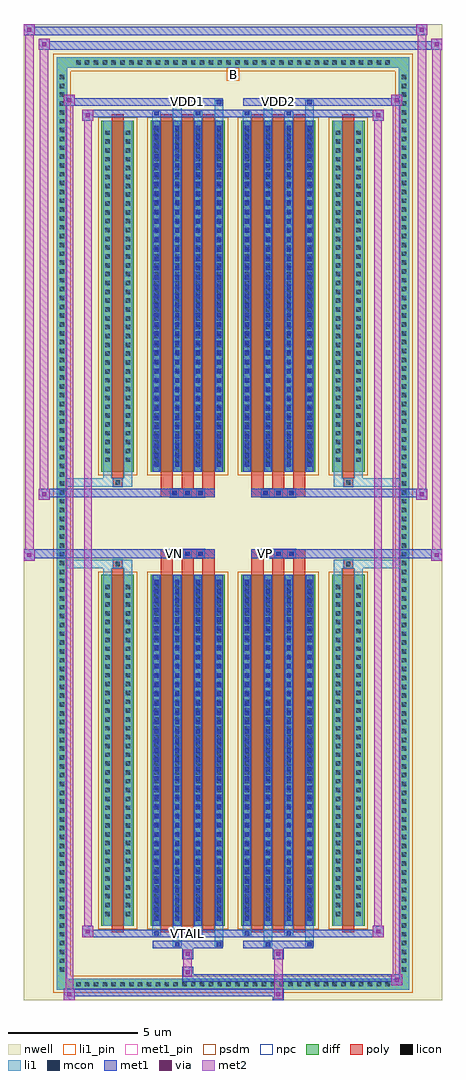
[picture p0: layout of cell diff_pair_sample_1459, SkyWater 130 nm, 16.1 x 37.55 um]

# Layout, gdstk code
import gdstk
lib = gdstk.Library(unit=1e-6, precision=5e-09)
def R(c, l, rs):  # rectangles x0, y0, x1, y1
    for r in rs: c.add(gdstk.rectangle(r[:2], r[2:], *l))
def A(c, l, x, y, w, h, nx, ny, dx, dy):  # array of equal rectangles
    R(c, l, [(x+i*dx, y+j*dy, x+i*dx+w, y+j*dy+h) for i in range(nx) for j in range(ny)])
def P(c, l, *ps):  # polygons
    for p in ps: c.add(gdstk.Polygon(p, *l))
nwell = (64, 20)
diff = (65, 20)
poly = (66, 20)
licon = (66, 44)
li1_pin = (67, 16)
li1 = (67, 20)
mcon = (67, 44)
met1_pin = (68, 16)
met1 = (68, 20)
via = (68, 44)
met2 = (69, 20)
psdm = (94, 20)
npc = (95, 20)

diff_pair_sample_1459 = lib.new_cell('diff_pair_sample_1459')
R(diff_pair_sample_1459, nwell, [(-8.05,-18.34,8.05,19.21), (-5.37,-16.53,-0.01,-0.805), (0.01,-16.53,5.37,-0.805), (-5.37,0.805,-0.01,16.53), (0.01,0.805,5.37,16.53)])
A(diff_pair_sample_1459, diff, -6.155, -17.94, 0.41, 0.41, 36, 2, 0.34, 35.47)
A(diff_pair_sample_1459, diff, -6.78, -17.375, 0.41, 0.41, 1, 102, 0, 0.34)
A(diff_pair_sample_1459, diff, 6.37, -17.375, 0.41, 0.41, 1, 102, 0, 0.34)
R(diff_pair_sample_1459, diff, [(-6.155,-17.94,6.155,-17.53), (-6.78,-17.375,-6.37,17.375), (6.37,-17.375,6.78,17.375), (-5.06,-15.485,-3.81,-1.985), (-3.17,-15.485,-0.32,-1.985), (0.32,-15.485,3.17,-1.985), (3.81,-15.485,5.06,-1.985), (-5.06,1.985,-3.81,15.485), (-3.17,1.985,-0.32,15.485), (0.32,1.985,3.17,15.485), (3.81,1.985,5.06,15.485), (-6.155,17.53,6.155,17.94)])
P(diff_pair_sample_1459, diff, [(6.78,17.94),(-6.78,17.94),(-6.78,-17.53),(-6.37,-17.53),(-6.37,17.53),(6.37,17.53),(6.37,-17.53),(-6.37,-17.53),(-6.78,-17.53),(-6.78,-17.94),(6.78,-17.94)])
A(diff_pair_sample_1459, poly, -2.78, -15.735, 0.47, 14, 3, 2, 0.8, 17.47)
A(diff_pair_sample_1459, poly, 0.71, -15.735, 0.47, 14, 3, 2, 0.8, 17.47)
A(diff_pair_sample_1459, poly, -2.78, -1.735, 0.47, 0.4, 3, 2, 0.8, 3.07)
A(diff_pair_sample_1459, poly, 0.71, -1.735, 0.47, 0.4, 3, 2, 0.8, 3.07)
A(diff_pair_sample_1459, poly, -2.41, -1.335, 0.33, 0.33, 3, 2, 0.5, 2.34)
A(diff_pair_sample_1459, poly, 1.08, -1.335, 0.33, 0.33, 3, 2, 0.5, 2.34)
R(diff_pair_sample_1459, poly, [(-4.67,-15.735,-4.2,-1.735), (4.2,-15.735,4.67,-1.735), (-4.6,-1.735,-4.27,-1.405), (-4.6,-1.735,-4.27,-1.405), (4.27,-1.735,4.6,-1.405), (4.27,-1.735,4.6,-1.405), (-2.78,-1.335,-0.71,-1.005), (0.71,-1.335,2.78,-1.005), (-2.78,1.005,-0.71,1.335), (0.71,1.005,2.78,1.335), (-4.6,1.405,-4.27,1.735), (-4.6,1.405,-4.27,1.735), (4.27,1.405,4.6,1.735), (4.27,1.405,4.6,1.735), (-4.67,1.735,-4.2,15.735), (4.2,1.735,4.67,15.735)])
A(diff_pair_sample_1459, licon, -6.035, -17.82, 0.17, 0.17, 36, 2, 0.34, 35.47)
A(diff_pair_sample_1459, licon, -6.66, -17.255, 0.17, 0.17, 1, 102, 0, 0.34)
A(diff_pair_sample_1459, licon, 6.49, -17.255, 0.17, 0.17, 1, 102, 0, 0.34)
A(diff_pair_sample_1459, licon, -4.92, -15.11, 0.17, 0.17, 1, 38, 0, 0.34)
A(diff_pair_sample_1459, licon, -4.12, -15.11, 0.17, 0.17, 1, 38, 0, 0.34)
A(diff_pair_sample_1459, licon, -3.03, -15.11, 0.17, 0.17, 4, 38, 0.8, 0.34)
A(diff_pair_sample_1459, licon, 0.46, -15.11, 0.17, 0.17, 4, 38, 0.8, 0.34)
A(diff_pair_sample_1459, licon, 3.95, -15.11, 0.17, 0.17, 1, 38, 0, 0.34)
A(diff_pair_sample_1459, licon, 4.75, -15.11, 0.17, 0.17, 1, 38, 0, 0.34)
A(diff_pair_sample_1459, licon, -2.33, -1.255, 0.17, 0.17, 3, 2, 0.5, 2.34)
A(diff_pair_sample_1459, licon, 1.16, -1.255, 0.17, 0.17, 3, 2, 0.5, 2.34)
A(diff_pair_sample_1459, licon, -4.92, 2.36, 0.17, 0.17, 1, 38, 0, 0.34)
A(diff_pair_sample_1459, licon, -4.12, 2.36, 0.17, 0.17, 1, 38, 0, 0.34)
A(diff_pair_sample_1459, licon, -3.03, 2.36, 0.17, 0.17, 4, 38, 0.8, 0.34)
A(diff_pair_sample_1459, licon, 0.46, 2.36, 0.17, 0.17, 4, 38, 0.8, 0.34)
A(diff_pair_sample_1459, licon, 3.95, 2.36, 0.17, 0.17, 1, 38, 0, 0.34)
A(diff_pair_sample_1459, licon, 4.75, 2.36, 0.17, 0.17, 1, 38, 0, 0.34)
R(diff_pair_sample_1459, licon, [(-4.52,-1.655,-4.35,-1.485), (4.35,-1.655,4.52,-1.485), (-4.52,1.485,-4.35,1.655), (4.35,1.485,4.52,1.655)])
R(diff_pair_sample_1459, li1_pin, [(-0.25,17.03,0.25,17.53)])
A(diff_pair_sample_1459, li1, -6.115, -17.9, 0.33, 0.33, 36, 2, 0.34, 35.47)
A(diff_pair_sample_1459, li1, -6.74, -17.335, 0.33, 0.33, 1, 102, 0, 0.34)
A(diff_pair_sample_1459, li1, 6.41, -17.335, 0.33, 0.33, 1, 102, 0, 0.34)
A(diff_pair_sample_1459, li1, -3.11, -15.485, 0.33, 13.5, 4, 2, 0.8, 17.47)
A(diff_pair_sample_1459, li1, 0.38, -15.485, 0.33, 13.5, 4, 2, 0.8, 17.47)
A(diff_pair_sample_1459, li1, -3.03, -15.3, 0.17, 0.17, 4, 37, 0.8, 0.36)
A(diff_pair_sample_1459, li1, -3.03, -15.3, 0.17, 13.13, 4, 2, 0.8, 17.47)
A(diff_pair_sample_1459, li1, 0.46, -15.3, 0.17, 0.17, 4, 37, 0.8, 0.36)
A(diff_pair_sample_1459, li1, 0.46, -15.3, 0.17, 13.13, 4, 2, 0.8, 17.47)
A(diff_pair_sample_1459, li1, -5, -15.19, 0.33, 0.33, 1, 38, 0, 0.34)
A(diff_pair_sample_1459, li1, -4.2, -15.19, 0.33, 0.33, 1, 38, 0, 0.34)
A(diff_pair_sample_1459, li1, -3.11, -15.19, 0.33, 0.33, 4, 38, 0.8, 0.34)
A(diff_pair_sample_1459, li1, 0.38, -15.19, 0.33, 0.33, 4, 38, 0.8, 0.34)
A(diff_pair_sample_1459, li1, 3.87, -15.19, 0.33, 0.33, 1, 38, 0, 0.34)
A(diff_pair_sample_1459, li1, 4.67, -15.19, 0.33, 0.33, 1, 38, 0, 0.34)
A(diff_pair_sample_1459, li1, -2.41, -1.335, 0.33, 0.33, 3, 2, 0.5, 2.34)
A(diff_pair_sample_1459, li1, 1.08, -1.335, 0.33, 0.33, 3, 2, 0.5, 2.34)
A(diff_pair_sample_1459, li1, -3.03, 2.17, 0.17, 0.17, 4, 37, 0.8, 0.36)
A(diff_pair_sample_1459, li1, 0.46, 2.17, 0.17, 0.17, 4, 37, 0.8, 0.36)
A(diff_pair_sample_1459, li1, -5, 2.28, 0.33, 0.33, 1, 38, 0, 0.34)
A(diff_pair_sample_1459, li1, -4.2, 2.28, 0.33, 0.33, 1, 38, 0, 0.34)
A(diff_pair_sample_1459, li1, -3.11, 2.28, 0.33, 0.33, 4, 38, 0.8, 0.34)
A(diff_pair_sample_1459, li1, 0.38, 2.28, 0.33, 0.33, 4, 38, 0.8, 0.34)
A(diff_pair_sample_1459, li1, 3.87, 2.28, 0.33, 0.33, 1, 38, 0, 0.34)
A(diff_pair_sample_1459, li1, 4.67, 2.28, 0.33, 0.33, 1, 38, 0, 0.34)
R(diff_pair_sample_1459, li1, [(-6.78,-17.94,-6.37,-17.53), (-6.78,-17.94,-6.37,-17.53), (-6.37,-17.94,6.37,-17.53), (6.37,-17.94,6.78,-17.53), (6.37,-17.94,6.78,-17.53), (-6.78,-17.53,-6.37,17.53), (6.37,-17.53,6.78,17.53), (-2.31,-16.29,-1.98,-15.485), (-2.23,-16.29,-2.06,-16.12), (-0.71,-16.29,-0.38,-15.485), (-0.63,-16.29,-0.46,-16.12), (1.18,-16.29,1.51,-15.485), (1.26,-16.29,1.43,-16.12), (2.78,-16.29,3.11,-15.485), (2.86,-16.29,3.03,-16.12), (-3.11,-15.86,-2.78,-15.485), (-3.03,-15.86,-2.86,-15.69), (-1.51,-15.86,-1.18,-15.485), (-1.43,-15.86,-1.26,-15.69), (0.38,-15.86,0.71,-15.485), (0.46,-15.86,0.63,-15.69), (1.98,-15.86,2.31,-15.485), (2.06,-15.86,2.23,-15.69), (-5,-15.485,-4.67,-1.985), (-4.2,-15.485,-3.87,-1.985), (3.87,-15.485,4.2,-1.985), (4.67,-15.485,5,-1.985), (-5,-1.985,-4.67,-1.405), (-4.2,-1.985,-3.87,-1.405), (3.87,-1.985,4.2,-1.405), (4.67,-1.985,5,-1.405), (-6.78,-1.735,-4.6,-1.405), (-5,-1.735,-4.6,-1.405), (-4.6,-1.735,-4.27,-1.405), (-4.27,-1.735,-3.87,-1.405), (3.87,-1.735,4.27,-1.405), (4.27,-1.735,4.6,-1.405), (4.27,-1.735,6.78,-1.405), (4.6,-1.735,5,-1.405), (-6.78,1.405,-4.6,1.735), (-5,1.405,-4.6,1.735), (-5,1.405,-4.67,1.985), (-4.6,1.405,-4.27,1.735), (-4.27,1.405,-3.87,1.735), (-4.2,1.405,-3.87,1.985), (3.87,1.405,4.27,1.735), (3.87,1.405,4.2,1.985), (4.27,1.405,4.6,1.735), (4.27,1.405,6.78,1.735), (4.6,1.405,5,1.735), (4.67,1.405,5,1.985), (-5,1.985,-4.67,15.485), (-4.2,1.985,-3.87,15.485), (3.87,1.985,4.2,15.485), (4.67,1.985,5,15.485), (-3.11,15.485,-2.78,15.86), (-2.31,15.485,-1.98,16.29), (-1.51,15.485,-1.18,15.86), (-0.71,15.485,-0.38,16.29), (0.38,15.485,0.71,15.86), (1.18,15.485,1.51,16.29), (1.98,15.485,2.31,15.86), (2.78,15.485,3.11,16.29), (-3.03,15.69,-2.86,15.86), (-1.43,15.69,-1.26,15.86), (0.46,15.69,0.63,15.86), (2.06,15.69,2.23,15.86), (-2.23,16.12,-2.06,16.29), (-0.63,16.12,-0.46,16.29), (1.26,16.12,1.43,16.29), (2.86,16.12,3.03,16.29), (-6.78,17.53,-6.37,17.94), (-6.78,17.53,-6.37,17.94), (-6.37,17.53,6.37,17.94), (6.37,17.53,6.78,17.94), (6.37,17.53,6.78,17.94)])
A(diff_pair_sample_1459, mcon, -3.03, -15.3, 0.17, 0.17, 4, 37, 0.8, 0.36)
A(diff_pair_sample_1459, mcon, 0.46, -15.3, 0.17, 0.17, 4, 37, 0.8, 0.36)
A(diff_pair_sample_1459, mcon, -2.33, -1.255, 0.17, 0.17, 3, 2, 0.5, 2.34)
A(diff_pair_sample_1459, mcon, 1.16, -1.255, 0.17, 0.17, 3, 2, 0.5, 2.34)
A(diff_pair_sample_1459, mcon, -3.03, 2.17, 0.17, 0.17, 4, 37, 0.8, 0.36)
A(diff_pair_sample_1459, mcon, 0.46, 2.17, 0.17, 0.17, 4, 37, 0.8, 0.36)
R(diff_pair_sample_1459, mcon, [(-2.23,-16.29,-2.06,-16.12), (-0.63,-16.29,-0.46,-16.12), (1.26,-16.29,1.43,-16.12), (2.86,-16.29,3.03,-16.12), (-3.03,-15.86,-2.86,-15.69), (-1.43,-15.86,-1.26,-15.69), (0.46,-15.86,0.63,-15.69), (2.06,-15.86,2.23,-15.69), (-3.03,15.69,-2.86,15.86), (-1.43,15.69,-1.26,15.86), (0.46,15.69,0.63,15.86), (2.06,15.69,2.23,15.86), (-2.23,16.12,-2.06,16.29), (-0.63,16.12,-0.46,16.29), (1.26,16.12,1.43,16.29), (2.86,16.12,3.03,16.29)])
R(diff_pair_sample_1459, met1_pin, [(-1.88,-15.9,-1.61,-15.63), (-2.38,-1.295,-2.11,-1.025), (1.11,-1.295,1.38,-1.025), (-1.88,16.08,-1.61,16.35), (1.61,16.08,1.88,16.35)])
A(diff_pair_sample_1459, met1, -3.09, -15.485, 0.29, 13.5, 4, 2, 0.8, 17.47)
A(diff_pair_sample_1459, met1, 0.4, -15.485, 0.29, 13.5, 4, 2, 0.8, 17.47)
A(diff_pair_sample_1459, met1, -3.09, -15.36, 0.29, 0.29, 4, 37, 0.8, 0.36)
A(diff_pair_sample_1459, met1, 0.4, -15.36, 0.29, 0.29, 4, 37, 0.8, 0.36)
A(diff_pair_sample_1459, met1, -2.39, -1.315, 0.29, 0.29, 3, 2, 0.5, 2.34)
A(diff_pair_sample_1459, met1, 1.1, -1.315, 0.29, 0.29, 3, 2, 0.5, 2.34)
A(diff_pair_sample_1459, met1, -3.09, 2.11, 0.29, 0.29, 4, 37, 0.8, 0.36)
A(diff_pair_sample_1459, met1, 0.4, 2.11, 0.29, 0.29, 4, 37, 0.8, 0.36)
R(diff_pair_sample_1459, met1, [(-6.51,-18.34,-6.08,-17.91), (1.53,-18.34,1.96,-17.91), (-6.51,-18.2,1.96,-17.91), (6.08,-17.77,6.51,-17.34), (-1.96,-17.63,6.51,-17.34), (-1.96,-17.49,-1.53,-17.06), (-1.96,-16.78,-1.53,-16.35), (1.53,-16.78,1.96,-16.35), (-3.09,-16.35,-0.4,-16.06), (-2.29,-16.35,-2,-16.06), (-0.69,-16.35,-0.4,-16.06), (0.4,-16.35,3.09,-16.06), (1.2,-16.35,1.49,-16.06), (2.8,-16.35,3.09,-16.06), (-5.8,-15.92,-5.37,-15.49), (-5.8,-15.92,-3.09,-15.63), (-3.09,-15.92,-2.8,-15.63), (-3.09,-15.92,-0.4,-15.63), (-1.49,-15.92,-1.2,-15.63), (-0.4,-15.92,0.4,-15.63), (0.4,-15.92,0.69,-15.63), (0.4,-15.92,3.09,-15.63), (2,-15.92,2.29,-15.63), (3.09,-15.92,5.8,-15.63), (5.37,-15.92,5.8,-15.49), (-8.05,-1.435,-7.62,-1.005), (7.62,-1.435,8.05,-1.005), (-8.05,-1.335,-0.71,-1.005), (-2.78,-1.335,-0.71,-1.005), (0.71,-1.335,2.78,-1.005), (0.71,-1.335,8.05,-1.005), (-7.48,0.905,-7.05,1.335), (7.05,0.905,7.48,1.335), (-7.48,1.005,-2.78,1.335), (-2.78,1.005,-0.71,1.335), (0.71,1.005,2.78,1.335), (2.78,1.005,7.48,1.335), (-5.8,15.49,-5.37,15.92), (5.37,15.49,5.8,15.92), (-5.8,15.63,-3.09,15.92), (-3.09,15.63,-2.8,15.92), (-3.09,15.63,-0.4,15.92), (-1.49,15.63,-1.2,15.92), (-0.4,15.63,0.4,15.92), (0.4,15.63,0.69,15.92), (0.4,15.63,3.09,15.92), (2,15.63,2.29,15.92), (3.09,15.63,5.8,15.92), (-6.51,16.06,-6.08,16.49), (-6.51,16.06,-3.09,16.35), (-3.09,16.06,-0.4,16.35), (-2.29,16.06,-2,16.35), (-0.69,16.06,-0.4,16.35), (0.4,16.06,3.09,16.35), (1.2,16.06,1.49,16.35), (2.8,16.06,3.09,16.35), (3.09,16.06,6.51,16.35), (6.08,16.06,6.51,16.49), (-7.48,18.21,-7.05,18.64), (-7.48,18.21,-5.37,18.54), (-5.37,18.21,5.37,18.54), (5.37,18.21,8.05,18.54), (7.62,18.21,8.05,18.64), (-8.05,18.78,-7.62,19.21), (-8.05,18.78,-5.37,19.11), (-5.37,18.78,5.37,19.11), (5.37,18.78,7.48,19.11), (7.05,18.78,7.48,19.21)])
R(diff_pair_sample_1459, via, [(-6.37,-18.2,-6.22,-18.05), (1.67,-18.2,1.82,-18.05), (6.22,-17.63,6.37,-17.48), (-1.82,-17.35,-1.67,-17.2), (-1.82,-16.64,-1.67,-16.49), (1.67,-16.64,1.82,-16.49), (-5.66,-15.78,-5.51,-15.63), (5.51,-15.78,5.66,-15.63), (-7.91,-1.295,-7.76,-1.145), (7.76,-1.295,7.91,-1.145), (-7.34,1.045,-7.19,1.195), (7.19,1.045,7.34,1.195), (-5.66,15.63,-5.51,15.78), (5.51,15.63,5.66,15.78), (-6.37,16.2,-6.22,16.35), (6.22,16.2,6.37,16.35), (-7.34,18.35,-7.19,18.5), (7.76,18.35,7.91,18.5), (-7.91,18.92,-7.76,19.07), (7.19,18.92,7.34,19.07)])
R(diff_pair_sample_1459, met2, [(-6.51,-18.34,-6.08,-17.91), (-6.44,-18.34,-6.15,16.49), (-6.15,-18.34,-6.08,-17.91), (-6.46,-18.29,-6.13,-17.96), (1.58,-18.29,1.91,-17.96), (1.58,-17.96,1.91,-16.73), (6.08,-17.77,6.51,-17.34), (6.15,-17.77,6.44,16.49), (6.44,-17.77,6.51,-17.34), (6.13,-17.72,6.46,-17.39), (-1.91,-17.44,-1.58,-17.11), (-1.91,-17.11,-1.58,-16.73), (-1.91,-16.73,-1.58,-16.4), (1.58,-16.73,1.91,-16.4), (-5.8,-15.92,-5.37,-15.49), (-5.73,-15.92,-5.44,15.92), (-5.44,-15.92,-5.37,-15.49), (5.37,-15.92,5.8,-15.49), (5.44,-15.92,5.73,15.92), (5.73,-15.92,5.8,-15.49), (-5.75,-15.87,-5.42,-15.54), (5.42,-15.87,5.75,-15.54), (-8.05,-1.435,-7.62,-1.005), (-8,-1.435,-7.67,19.21), (-7.67,-1.435,-7.62,-1.005), (7.62,-1.435,8.05,-1.005), (7.67,-1.435,8,18.64), (8,-1.435,8.05,-1.005), (-8,-1.385,-7.67,-1.055), (7.67,-1.385,8,-1.055), (-7.48,0.905,-7.05,1.335), (-7.43,0.905,-7.1,18.64), (-7.1,0.905,-7.05,1.335), (7.05,0.905,7.48,1.335), (7.1,0.905,7.43,19.21), (7.43,0.905,7.48,1.335), (-7.43,0.955,-7.1,1.285), (7.1,0.955,7.43,1.285), (-5.8,15.49,-5.37,15.92), (-5.44,15.49,-5.37,15.92), (5.37,15.49,5.8,15.92), (5.73,15.49,5.8,15.92), (-5.75,15.54,-5.42,15.87), (5.42,15.54,5.75,15.87), (-6.51,16.06,-6.08,16.49), (-6.15,16.06,-6.08,16.49), (6.08,16.06,6.51,16.49), (6.44,16.06,6.51,16.49), (-6.46,16.11,-6.13,16.44), (6.13,16.11,6.46,16.44), (-7.48,18.21,-7.05,18.64), (-7.1,18.21,-7.05,18.64), (7.62,18.21,8.05,18.64), (8,18.21,8.05,18.64), (-7.43,18.26,-7.1,18.59), (7.67,18.26,8,18.59), (-8.05,18.78,-7.62,19.21), (-7.67,18.78,-7.62,19.21), (7.05,18.78,7.48,19.21), (7.43,18.78,7.48,19.21), (-8,18.83,-7.67,19.16), (7.1,18.83,7.43,19.16)])
R(diff_pair_sample_1459, psdm, [(-5.19,-15.615,-3.68,-1.855), (-3.3,-15.615,-0.19,-1.855), (0.19,-15.615,3.3,-1.855), (3.68,-15.615,5.19,-1.855), (-5.19,1.855,-3.68,15.615), (-3.3,1.855,-0.19,15.615), (0.19,1.855,3.3,15.615), (3.68,1.855,5.19,15.615)])
P(diff_pair_sample_1459, psdm, [(6.91,18.07),(-6.91,18.07),(-6.91,-17.4),(-6.24,-17.4),(-6.24,17.4),(6.24,17.4),(6.24,-17.4),(-6.24,-17.4),(-6.91,-17.4),(-6.91,-18.07),(6.91,-18.07)])
A(diff_pair_sample_1459, npc, -2.43, -1.355, 0.37, 0.37, 3, 2, 0.5, 2.34)
A(diff_pair_sample_1459, npc, 1.06, -1.355, 0.37, 0.37, 3, 2, 0.5, 2.34)
R(diff_pair_sample_1459, npc, [(-4.62,-1.755,-4.25,-1.385), (4.25,-1.755,4.62,-1.385), (-2.43,-1.355,-1.56,-0.985), (-2.43,-1.355,-1.56,-0.985), (-1.93,-1.355,-1.06,-0.985), (-1.93,-1.355,-1.06,-0.985), (1.06,-1.355,1.93,-0.985), (1.06,-1.355,1.93,-0.985), (1.56,-1.355,2.43,-0.985), (1.56,-1.355,2.43,-0.985), (-2.43,0.985,-1.56,1.355), (-2.43,0.985,-1.56,1.355), (-1.93,0.985,-1.06,1.355), (-1.93,0.985,-1.06,1.355), (1.06,0.985,1.93,1.355), (1.06,0.985,1.93,1.355), (1.56,0.985,2.43,1.355), (1.56,0.985,2.43,1.355), (-4.62,1.385,-4.25,1.755), (4.25,1.385,4.62,1.755)])
diff_pair_sample_1459.add(gdstk.Label('VTAIL', (-1.745,-15.765), layer=68, texttype=5))
diff_pair_sample_1459.add(gdstk.Label('VN', (-2.245,-1.16), layer=68, texttype=5))
diff_pair_sample_1459.add(gdstk.Label('VP', (1.245,-1.16), layer=68, texttype=5))
diff_pair_sample_1459.add(gdstk.Label('B', (0,17.28), layer=67, texttype=5))
diff_pair_sample_1459.add(gdstk.Label('VDD2', (1.745,16.215), layer=68, texttype=5))
diff_pair_sample_1459.add(gdstk.Label('VDD1', (-1.745,16.215), layer=68, texttype=5))

lib.write_gds('diff_pair_sample_1459.gds')
